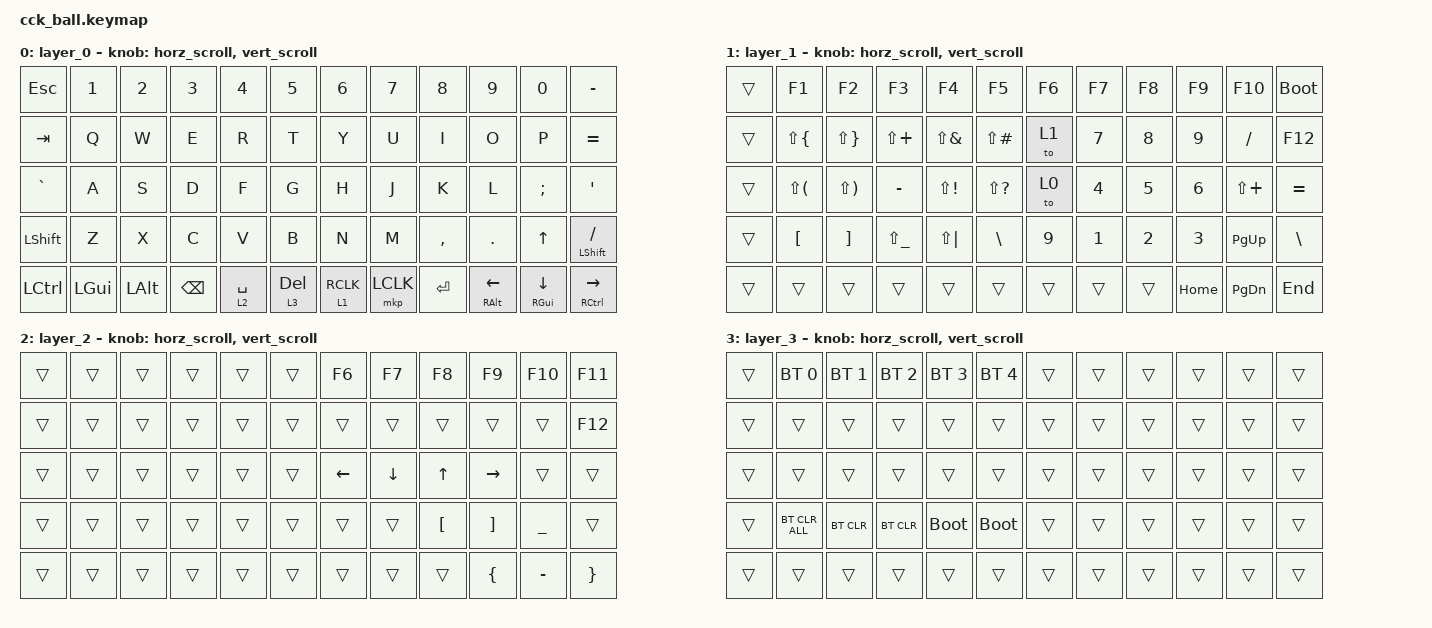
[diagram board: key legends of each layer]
#define ZMK_POINTING_DEFAULT_MOVE_VAL 1500 // 600
#define ZMK_POINTING_DEFAULT_SCRL_VAL 8   // 10

#include <input/processors.dtsi>
#include <zephyr/dt-bindings/input/input-event-codes.h>
#include <behaviors.dtsi>
#include <dt-bindings/zmk/bt.h>
#include <dt-bindings/zmk/keys.h>
#include <dt-bindings/zmk/pointing.h>

&mmv_input_listener { input-processors = <&zip_xy_scaler 2 1>; };

&msc_input_listener { input-processors = <&zip_scroll_scaler 2 1>; };

&msc {
    acceleration-exponent = <0>;      // 0
    time-to-max-speed-ms = <300>;       // 300
    delay-ms = <0>;                   // 0
};

&mmv {
    time-to-max-speed-ms = <500>;
    acceleration-exponent = <1>;
    trigger-period-ms = <16>;
};

/ {
    behaviors {
    };
};

/ {
    behaviors {
        boot: bootloader_tap {
            compatible = "zmk,behavior-hold-tap";
            #binding-cells = <2>;
            flavor = "tap-preferred";
            tapping-term-ms = <200>;
            bindings = <&bootloader>, <&kp>;

            display-name = "Bootloader-Tap";
        };

        horz_scroll: horz_scroll {
            compatible = "zmk,behavior-sensor-rotate";
            #sensor-binding-cells = <0>;
            bindings = <&msc SCRL_LEFT>, <&msc SCRL_RIGHT>;

            tap-ms = <50>;
            label = "HORZ_SCROLL";
        };

        vert_scroll: vert_scroll {
            compatible = "zmk,behavior-sensor-rotate";
            #sensor-binding-cells = <0>;
            bindings = <&msc SCRL_UP>, <&msc SCRL_DOWN>;

            tap-ms = <50>;
            label = "VERT_SCROLL";
        };

        mod_mouse_layer: mod_mouse_layer {
            compatible = "zmk,behavior-hold-tap";
            label = "MOD_MOUSE_LAYER";
            bindings = <&mo>, <&mkp>;

            #binding-cells = <2>;
            tapping-term-ms = <200>;
        };
    };
};

&mt {
};

&lt {
};

/ {
};

/ {
    combos { compatible = "zmk,combos"; };
};

/ {
    // Up/down scrolling encoder behavior
    // Scroll Encoder Behavior Left and Right

    behaviors {
    };

    keymap {
        compatible = "zmk,keymap";

        layer_0 {
            bindings = <
&kp ESC           &kp N1        &kp N2        &kp N3    &kp N4       &kp N5        &kp N6                   &kp N7     &kp N8     &kp N9              &kp N0              &kp MINUS
&kp TAB           &kp Q         &kp W         &kp E     &kp R        &kp T         &kp Y                    &kp U      &kp I      &kp O               &kp P               &kp EQUAL
&kp GRAVE         &kp A         &kp S         &kp D     &kp F        &kp G         &kp H                    &kp J      &kp K      &kp L               &kp SEMI            &kp SQT
&kp LEFT_SHIFT    &kp Z         &kp X         &kp C     &kp V        &kp B         &kp N                    &kp M      &kp COMMA  &kp DOT             &kp UP              &mt LEFT_SHIFT SLASH
&kp LEFT_CONTROL  &kp LEFT_GUI  &kp LEFT_ALT  &kp BSPC  &lt 2 SPACE  &lt 3 DELETE  &mod_mouse_layer 1 RCLK  &mkp LCLK  &kp RET    &mt RIGHT_ALT LEFT  &mt RIGHT_GUI DOWN  &mt RIGHT_CONTROL RIGHT
            >;

            sensor-bindings = <&horz_scroll>, <&vert_scroll>;
        };

        layer_1 {
            bindings = <
&trans  &kp F1        &kp F2        &kp F3         &kp F4        &kp F5         &kp F6  &kp F7  &kp F8  &kp F9    &kp F10        &bootloader
&trans  &kp LS(LBRC)  &kp LS(RBRC)  &kp LS(PLUS)   &kp LS(AMPS)  &kp LS(POUND)  &to 1   &kp N7  &kp N8  &kp N9    &kp FSLH       &kp F12
&trans  &kp LS(LPAR)  &kp LS(RPAR)  &kp MINUS      &kp LS(EXCL)  &kp LS(QMARK)  &to 0   &kp N4  &kp N5  &kp N6    &kp LS(PLUS)   &kp EQUAL
&trans  &kp LBKT      &kp RBKT      &kp LS(UNDER)  &kp LS(PIPE)  &kp BSLH       &kp N9  &kp N1  &kp N2  &kp N3    &kp PG_UP      &kp BSLH
&trans  &trans        &trans        &trans         &trans        &trans         &trans  &trans  &trans  &kp HOME  &kp PAGE_DOWN  &kp END
            >;

            sensor-bindings = <&horz_scroll>, <&vert_scroll>;
        };

        layer_2 {
            bindings = <
&trans  &trans  &trans  &trans  &trans  &trans  &kp F6    &kp F7    &kp F8    &kp F9          &kp F10    &kp F11
&trans  &trans  &trans  &trans  &trans  &trans  &trans    &trans    &trans    &trans          &trans     &kp F12
&trans  &trans  &trans  &trans  &trans  &trans  &kp LEFT  &kp DOWN  &kp UP    &kp RIGHT       &trans     &trans
&trans  &trans  &trans  &trans  &trans  &trans  &trans    &trans    &kp LBKT  &kp RBKT        &kp UNDER  &trans
&trans  &trans  &trans  &trans  &trans  &trans  &trans    &trans    &trans    &kp LEFT_BRACE  &kp MINUS  &kp RIGHT_BRACE
            >;

            sensor-bindings = <&horz_scroll>, <&vert_scroll>;
        };

        layer_3 {
            bindings = <
&trans  &bt BT_SEL 0    &bt BT_SEL 1  &bt BT_SEL 2  &bt BT_SEL 3  &bt BT_SEL 4  &trans  &trans  &trans  &trans  &trans  &trans
&trans  &trans          &trans        &trans        &trans        &trans        &trans  &trans  &trans  &trans  &trans  &trans
&trans  &trans          &trans        &trans        &trans        &trans        &trans  &trans  &trans  &trans  &trans  &trans
&trans  &bt BT_CLR_ALL  &bt BT_CLR    &bt BT_CLR    &bootloader   &bootloader   &trans  &trans  &trans  &trans  &trans  &trans
&trans  &trans          &trans        &trans        &trans        &trans        &trans  &trans  &trans  &trans  &trans  &trans
            >;

            sensor-bindings = <&horz_scroll>, <&vert_scroll>;
        };
    };
};
